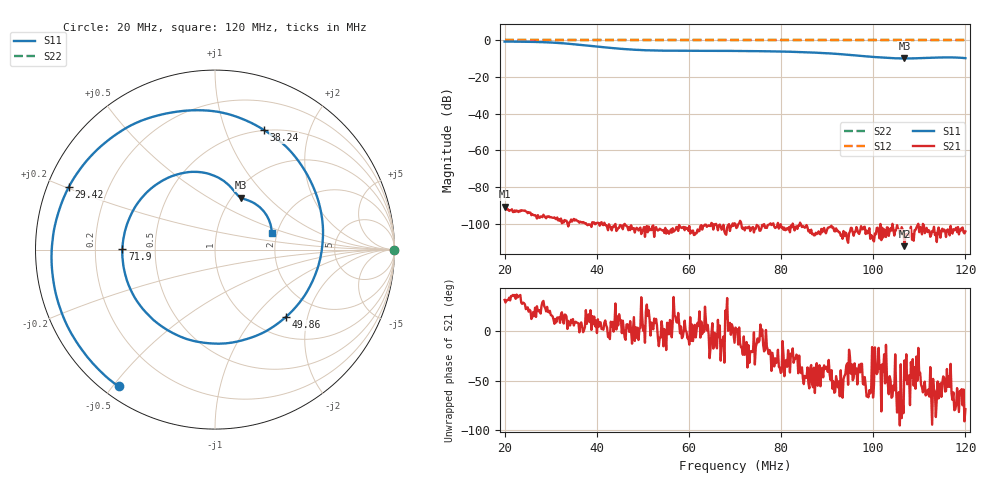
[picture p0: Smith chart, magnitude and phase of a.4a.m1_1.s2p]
! Anritsu VNA Master:  Model: MS2036C/10/77
! SN:  1601066
! /bd0/18may09/254.ew.m1_1.s2p
! Existing Calibration Information:
! TYPE:  Current Settings,  Active Cal Settings
! TIME:  05/09/2018 10:11:29 AM,  05/09/2018 10:08:40 AM
! INTERNAL TEMP:  48.3 C,  48.0 C
! # POINTS:  500,  500
! START FREQ:  20.000 MHz,  20.000 MHz
! STOP FREQ:  120.000 MHz,  120.000 MHz
! SOURCE POWER:  High,  High
! IFBW:  50 Hz,  50 Hz
! AVG FACTOR:  1 ,  1
! REF PLANE 1:  0 mm,  0 mm
! REF PLANE 2:  0 mm,  0 mm
! CAL TYPE:  Full S11,  Full S11
! CAL METHOD:  SOLT,  SOLT
! CAL LINE TYPE:  Coax,  Coax
! DUT PORT 1:  K-Conn(F),  K-Conn(F)
! DUT PORT 2:  K-Conn(F),  K-Conn(F)
! CAL STATUS:  OK: Accuracy High,  --
# GHZ S DB R 50.0
! FREQ.GHZ  S11DB  S11A  S21DB  S21A  S12DB  S12A  S22DB  S22A
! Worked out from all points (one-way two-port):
!   500 points, 20 MHz to 120 MHz, reference 50 ohm
!   highest |S21| = -90.65 dB at 20 MHz (marker M1); lowest = -112.3 dB at 106.8 MHz (marker M2)
!   lowest |S11| = -9.8 dB at 106.8 MHz (marker M3), VSWR 1.95, Z = 54.7 + j35.4 ohm
!   |S11| at or under -10 dB: nowhere
!   |S22| runs from 0.0 to 0.0 dB; largest |S21 - S12| = 1
!   S11 on the Smith chart (normalised r, x): 20 MHz: 0.04, -0.52; 29.42 MHz: 0.06, +0.20; 38.24 MHz: 0.49, +1.37; 49.86 MHz: 1.38, -1.48; 71.9 MHz: 0.32, +0.00; 120 MHz: 1.88, +0.38
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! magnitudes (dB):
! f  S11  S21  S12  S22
! 20 MHz  -0.6  -90.6  0.0  0.0
! 25.01 MHz  -0.7  -94.3  0.0  0.0
! 29.42 MHz  -1.0  -96.3  0.0  0.0
! 32.83 MHz  -1.6  -99.4  0.0  0.0
! 36.83 MHz  -2.4  -99.5  0.0  0.0
! 38.24 MHz  -2.9  -100.3  0.0  0.0
! 44.65 MHz  -4.4  -102.4  0.0  0.0
! 47.05 MHz  -4.9  -101.7  0.0  0.0
! 49.86 MHz  -5.3  -103.8  0.0  0.0
! 53.47 MHz  -5.5  -103.4  0.0  0.0
! 70.1 MHz  -5.7  -100.2  0.0  0.0
! 71.9 MHz  -5.7  -102.1  0.0  0.0
! 80.72 MHz  -6.1  -102.2  0.0  0.0
! 86.73 MHz  -6.6  -105.7  0.0  0.0
! 92.14 MHz  -7.3  -104.0  0.0  0.0
! 100.4 MHz  -9.1  -105.4  0.0  0.0
! 103.4 MHz  -9.6  -106.6  0.0  0.0
! 106.8 MHz  -9.8  -112.3  0.0  0.0
! 108.8 MHz  -9.8  -109.3  0.0  0.0
! 116 MHz  -9.2  -103.6  0.0  0.0
! 118.2 MHz  -9.3  -104.6  0.0  0.0
! 120 MHz  -9.7  -104.2  0.0  0.0
